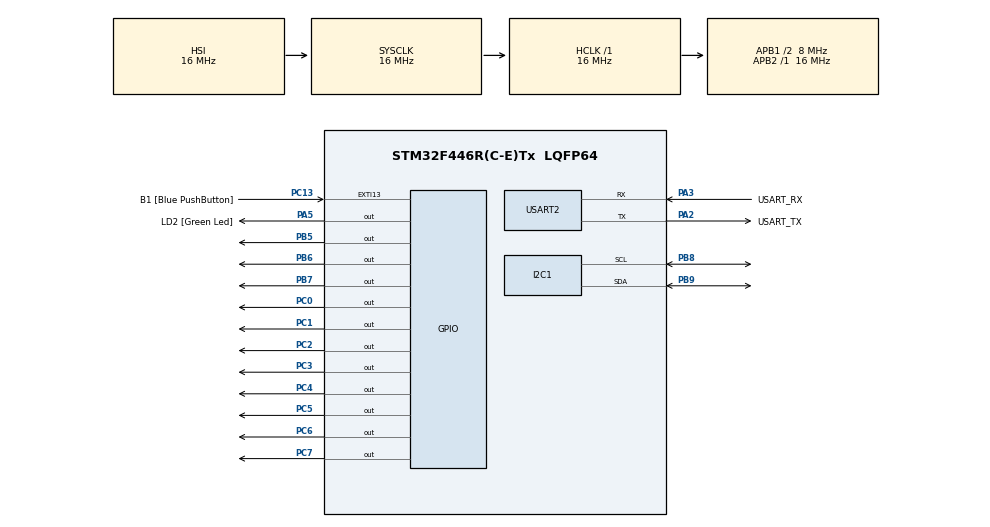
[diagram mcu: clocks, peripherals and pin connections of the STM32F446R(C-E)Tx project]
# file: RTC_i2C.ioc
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I2C1.I2C_Mode=I2C_Fast
Mcu.Family=STM32F4
Mcu.Name=STM32F446R(C-E)Tx
Mcu.Package=LQFP64
NVIC.PriorityGroup=NVIC_PRIORITYGROUP_0
PA13.GPIO_Label=TMS
PA13.Mode=Serial_Wire
PA13.Signal=SYS_JTMS-SWDIO
PA14.GPIO_Label=TCK
PA14.Mode=Serial_Wire
PA14.Signal=SYS_JTCK-SWCLK
PA2.GPIO_Label=USART_TX
PA2.Mode=Asynchronous
PA2.Signal=USART2_TX
PA3.GPIO_Label=USART_RX
PA3.Mode=Asynchronous
PA3.Signal=USART2_RX
PA5.GPIO_Label=LD2 [Green Led]
PA5.Signal=GPIO_Output
PB3.GPIO_Label=SWO
PB3.Signal=SYS_JTDO-SWO
PB5.Signal=GPIO_Output
PB6.Signal=GPIO_Output
PB7.Signal=GPIO_Output
PB8.Mode=I2C
PB8.Signal=I2C1_SCL
PB9.Mode=I2C
PB9.Signal=I2C1_SDA
PC0.Signal=GPIO_Output
PC1.Signal=GPIO_Output
PC13.GPIO_Label=B1 [Blue PushButton]
PC13.GPIO_ModeDefaultEXTI=GPIO_MODE_IT_FALLING
PC13.Signal=GPXTI13
PC14-OSC32_IN.Mode=LSE-External-Oscillator
PC14-OSC32_IN.Signal=RCC_OSC32_IN
PC15-OSC32_OUT.Mode=LSE-External-Oscillator
PC15-OSC32_OUT.Signal=RCC_OSC32_OUT
PC2.Signal=GPIO_Output
PC3.Signal=GPIO_Output
PC4.Signal=GPIO_Output
PC5.Signal=GPIO_Output
PC6.Signal=GPIO_Output
PC7.Signal=GPIO_Output
PH0-OSC_IN.Mode=HSE-External-Oscillator
PH0-OSC_IN.Signal=RCC_OSC_IN
PH1-OSC_OUT.Mode=HSE-External-Oscillator
PH1-OSC_OUT.Signal=RCC_OSC_OUT
ProjectManager.HeapSize=0x200
ProjectManager.StackSize=0x400
ProjectManager.TargetToolchain=STM32CubeIDE
RCC.48MHZClocksFreq_Value=84000000
RCC.AHBFreq_Value=16000000
RCC.APB1CLKDivider=RCC_HCLK_DIV2
RCC.APB1Freq_Value=8000000
RCC.APB1TimFreq_Value=16000000
RCC.APB2Freq_Value=16000000
RCC.APB2TimFreq_Value=16000000
RCC.CortexFreq_Value=16000000
RCC.FLatency-AdvancedSettings=FLASH_LATENCY_0
RCC.HCLKFreq_Value=16000000
RCC.HSE_VALUE=8000000
RCC.HSI_VALUE=16000000
RCC.PLLN=336
RCC.PLLP=RCC_PLLP_DIV4
RCC.SYSCLKFreq_VALUE=16000000
RCC.USBFreq_Value=168000000
RCC.VCOOutputFreq_Value=336000000
USART2.VirtualMode=VM_ASYNC
board=NUCLEO-F446RE

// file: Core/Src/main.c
/* USER CODE BEGIN Header */
/**
  **************************
  * @file           : main.c
  * @brief          : Main program body
  **************************
  * @attention
  *
  * Copyright (c) 2024 STMicroelectronics.
  * All rights reserved.
  *
  * This software is licensed under terms that can be found in the LICENSE file
  * in the root directory of this software component.
  * If no LICENSE file comes with this software, it is provided AS-IS.
  *
  **************************
  */
/* USER CODE END Header */
#include "main.h"

I2C_HandleTypeDef hi2c1;

UART_HandleTypeDef huart2;

void SystemClock_Config(void);
static void MX_GPIO_Init(void);
static void MX_USART2_UART_Init(void);
static void MX_I2C1_Init(void);
/* USER CODE BEGIN PFP */
#define DS1307_ADDR_SEC 0x00
#define DS1307_ADDR_MINIUTE 0x01
#define DS1307_ADDR_HRS 0x02
#define DS1307_ADDR_DAY 0x03
#define DS1307_ADDR_DATE 0x04
#define DS1307_ADDR_MONTH 0x05
#define DS1307_ADDR_YEAR 0x06
#define SLAVE_ADDR 0xD0
#define DS1307_SLAVE_ADDR 0b1101000
#define DS1307_CH_DATA 0x00
#define AM_Time 0
#define PM_Time 1
#define TwentyFourHoursMode 2

#define Sunday 1
#define Monday 2
#define Tuesday 3
#define Wednesday 4
#define Thursday 5
#define Friday 6
#define Saturday 7

void delay(uint32_t x);
 uint8_t bcd_to_binary(uint8_t value);
 void RTC_BCD_data(char *bin);
 void I2C1_init(void);
 void I2C1_burstWrite(char saddr, char maddr, int n, char* data);
 void I2C1_burstRead(char saddr, char maddr, int n, char* data);
 void deci_2_bcd_conver(char *ptr);
 void split_num_conditinal(int digit);
 void digit_split(unsigned int p);
 int decimalToBCD(int decimal);
 int BCDtoDecimal(int BCD);

 void LCD_command(unsigned char command);
 void LCD_data(char data);
 void LCD_pin_init(void);
 void LCD_disp_init();
 void lcd_send_string (char *str);

 void Get_Time();

 typedef struct {
 uint8_t seconds;
 uint8_t minutes;
 uint8_t hour;
 uint8_t dayofweek;
 uint8_t dayofmonth;
 uint8_t month;
 uint8_t year;
 } TIME;
 TIME time;

/* USER CODE END PFP */

/* USER CODE BEGIN 0 */
char timeDateToSet[15] = {55, 33, 13, 4, 05, 7, 22, 0};
char timeDateReadback[15];
char set_time[15];
unsigned char numaric_value[20];
unsigned char numaric_value[20];
int rtc_data[15];
char buffer[15];
/* USER CODE END 0 */

int main(void)
{
  /* USER CODE BEGIN 1 */
	I2C1_init();
	 LCD_pin_init();
	 LCD_disp_init();
	// LCD_data('m');
	 lcd_send_string("RTC:");
	 deci_2_bcd_conver(timeDateToSet);
	 I2C1_burstWrite(SLAVE_ADDR, 0x00, 7, set_time);
  /* USER CODE END 1 */

  /* MCU Configuration--------------------------------------------------------*/

  /* Reset of all peripherals, Initializes the Flash interface and the Systick. */
  HAL_Init();

  /* Configure the system clock */
  SystemClock_Config();

  /* Initialize all configured peripherals */
  MX_GPIO_Init();
  MX_USART2_UART_Init();
  MX_I2C1_Init();

  /* Infinite loop */
  while (1)
  {

    /* USER CODE BEGIN 3 */
	  LCD_command(0x80);
	   Get_Time(); //reading RTC data
	   sprintf (buffer, "%02d:%02d:%02d", time.hour, time.minutes, time.seconds);
	   // delay(1);
	   lcd_send_string(buffer);
	   // delay(1);
	   sprintf (buffer, "%02d-%02d-20%02d", time.dayofmonth, time.month, time.year);
	   // delay(1);
	   LCD_command(0xC0);
	   lcd_send_string(buffer);
  }
  /* USER CODE END 3 */
}

void SystemClock_Config(void)
{
  RCC_OscInitTypeDef RCC_OscInitStruct = {0};
  RCC_ClkInitTypeDef RCC_ClkInitStruct = {0};

  /** Configure the main internal regulator output voltage
  */
  __HAL_RCC_PWR_CLK_ENABLE();
  __HAL_PWR_VOLTAGESCALING_CONFIG(PWR_REGULATOR_VOLTAGE_SCALE3);

  /** Initializes the RCC Oscillators according to the specified parameters
  * in the RCC_OscInitTypeDef structure.
  */
  RCC_OscInitStruct.OscillatorType = RCC_OSCILLATORTYPE_HSI;
  RCC_OscInitStruct.HSIState = RCC_HSI_ON;
  RCC_OscInitStruct.HSICalibrationValue = RCC_HSICALIBRATION_DEFAULT;
  RCC_OscInitStruct.PLL.PLLState = RCC_PLL_NONE;
  if (HAL_RCC_OscConfig(&RCC_OscInitStruct) != HAL_OK)
  {
    Error_Handler();
  }

  /** Initializes the CPU, AHB and APB buses clocks
  */
  RCC_ClkInitStruct.ClockType = RCC_CLOCKTYPE_HCLK|RCC_CLOCKTYPE_SYSCLK
                              |RCC_CLOCKTYPE_PCLK1|RCC_CLOCKTYPE_PCLK2;
  RCC_ClkInitStruct.SYSCLKSource = RCC_SYSCLKSOURCE_HSI;
  RCC_ClkInitStruct.AHBCLKDivider = RCC_SYSCLK_DIV1;
  RCC_ClkInitStruct.APB1CLKDivider = RCC_HCLK_DIV2;
  RCC_ClkInitStruct.APB2CLKDivider = RCC_HCLK_DIV1;

  if (HAL_RCC_ClockConfig(&RCC_ClkInitStruct, FLASH_LATENCY_0) != HAL_OK)
  {
    Error_Handler();
  }
}

static void MX_I2C1_Init(void)
{

  hi2c1.Instance = I2C1;
  hi2c1.Init.ClockSpeed = 400000;
  hi2c1.Init.DutyCycle = I2C_DUTYCYCLE_2;
  hi2c1.Init.OwnAddress1 = 0;
  hi2c1.Init.AddressingMode = I2C_ADDRESSINGMODE_7BIT;
  hi2c1.Init.DualAddressMode = I2C_DUALADDRESS_DISABLE;
  hi2c1.Init.OwnAddress2 = 0;
  hi2c1.Init.GeneralCallMode = I2C_GENERALCALL_DISABLE;
  hi2c1.Init.NoStretchMode = I2C_NOSTRETCH_DISABLE;
  if (HAL_I2C_Init(&hi2c1) != HAL_OK)
  {
    Error_Handler();
  }

}

static void MX_USART2_UART_Init(void)
{

  huart2.Instance = USART2;
  huart2.Init.BaudRate = 115200;
  huart2.Init.WordLength = UART_WORDLENGTH_8B;
  huart2.Init.StopBits = UART_STOPBITS_1;
  huart2.Init.Parity = UART_PARITY_NONE;
  huart2.Init.Mode = UART_MODE_TX_RX;
  huart2.Init.HwFlowCtl = UART_HWCONTROL_NONE;
  huart2.Init.OverSampling = UART_OVERSAMPLING_16;
  if (HAL_UART_Init(&huart2) != HAL_OK)
  {
    Error_Handler();
  }

}

static void MX_GPIO_Init(void)
{
  GPIO_InitTypeDef GPIO_InitStruct = {0};

  /* GPIO Ports Clock Enable */
  __HAL_RCC_GPIOC_CLK_ENABLE();
  __HAL_RCC_GPIOH_CLK_ENABLE();
  __HAL_RCC_GPIOA_CLK_ENABLE();
  __HAL_RCC_GPIOB_CLK_ENABLE();

  /*Configure GPIO pin Output Level */
  HAL_GPIO_WritePin(GPIOC, GPIO_PIN_0|GPIO_PIN_1|GPIO_PIN_2|GPIO_PIN_3
                          |GPIO_PIN_4|GPIO_PIN_5|GPIO_PIN_6|GPIO_PIN_7, GPIO_PIN_RESET);

  /*Configure GPIO pin Output Level */
  HAL_GPIO_WritePin(LD2_GPIO_Port, LD2_Pin, GPIO_PIN_RESET);

  /*Configure GPIO pin Output Level */
  HAL_GPIO_WritePin(GPIOB, GPIO_PIN_5|GPIO_PIN_6|GPIO_PIN_7, GPIO_PIN_RESET);

  /*Configure GPIO pin : B1_Pin */
  GPIO_InitStruct.Pin = B1_Pin;
  GPIO_InitStruct.Mode = GPIO_MODE_IT_FALLING;
  GPIO_InitStruct.Pull = GPIO_NOPULL;
  HAL_GPIO_Init(B1_GPIO_Port, &GPIO_InitStruct);

  /*Configure GPIO pins : PC0 PC1 PC2 PC3
                           PC4 PC5 PC6 PC7 */
  GPIO_InitStruct.Pin = GPIO_PIN_0|GPIO_PIN_1|GPIO_PIN_2|GPIO_PIN_3
                          |GPIO_PIN_4|GPIO_PIN_5|GPIO_PIN_6|GPIO_PIN_7;
  GPIO_InitStruct.Mode = GPIO_MODE_OUTPUT_PP;
  GPIO_InitStruct.Pull = GPIO_NOPULL;
  GPIO_InitStruct.Speed = GPIO_SPEED_FREQ_LOW;
  HAL_GPIO_Init(GPIOC, &GPIO_InitStruct);

  /*Configure GPIO pin : LD2_Pin */
  GPIO_InitStruct.Pin = LD2_Pin;
  GPIO_InitStruct.Mode = GPIO_MODE_OUTPUT_PP;
  GPIO_InitStruct.Pull = GPIO_NOPULL;
  GPIO_InitStruct.Speed = GPIO_SPEED_FREQ_LOW;
  HAL_GPIO_Init(LD2_GPIO_Port, &GPIO_InitStruct);

  /*Configure GPIO pins : PB5 PB6 PB7 */
  GPIO_InitStruct.Pin = GPIO_PIN_5|GPIO_PIN_6|GPIO_PIN_7;
  GPIO_InitStruct.Mode = GPIO_MODE_OUTPUT_PP;
  GPIO_InitStruct.Pull = GPIO_NOPULL;
  GPIO_InitStruct.Speed = GPIO_SPEED_FREQ_LOW;
  HAL_GPIO_Init(GPIOB, &GPIO_InitStruct);

}

/* USER CODE BEGIN 4 */
void I2C1_init(void)
{
RCC->AHB1ENR |= 2; /* Enable GPIOB clock */
 RCC->APB1ENR |= 0x00200000; /* Enable I2C1 clock */
 /* configure PB8, PB9 pins for I2C1 */
 GPIOB->AFR[1] &= ~0x000000FF; /* PB8, PB9 I2C1 SCL, SDA */
 GPIOB->AFR[1] |= 0x00000044;
 GPIOB->MODER &= ~0x000F0000; /* PB8, PB9 use alternate function */
 GPIOB->MODER |= 0x000A0000;
 GPIOB->OTYPER |= 0x00000300; /* output open-drain */
 GPIOB->PUPDR &= ~0x000F0000; /* with pull-ups */
 GPIOB->PUPDR |= 0x00050000;
 I2C1->CR1 = 0x8000; /* software reset I2C1 */
 I2C1->CR1 &= ~0x8000; /* out of reset */
 I2C1->CR2 = 0x0010; /* peripheral clock is 16 MHz */
I2C1->CR1 |= 0x400; /* Enabling the
acknowledgment */
 I2C1->CCR = 80; /* standard mode, 100kHz clock */
 I2C1->TRISE = 17; /* maximum rise time */
 I2C1->CR1 |= 0x0001; /* enable I2C1 module */
}

void I2C1_burstWrite(char saddr, char maddr, int n, char* data)
{
 int i;
 volatile int tmp;
 while (I2C1->SR2 & 2); /* wait until bus not busy */
 I2C1->CR1 &= ~0x800; /* disable POS */
 I2C1->CR1 |= 0x100; /* generate start */
 while (!(I2C1->SR1 & 1)); /* wait until start flag is set */
 I2C1->DR = saddr << 1; /* transmit slave address */
 while (!(I2C1->SR1 & 0x2)); /* wait until addr flag is set */
 tmp = I2C1->SR2; /* clear addr flag */
 while (!(I2C1->SR1 & 0x80)); /* wait until data register empty */
 I2C1->DR = maddr; /* send memory address */
 /* write all the data */
 for (i = 0; i < n; i++) {
 while (!(I2C1->SR1 & 0x80)); /* wait until data register empty */
 I2C1->DR = data++;
 }
 while (!(I2C1->SR1 & 4)); /* wait until transfer finished */
 I2C1->CR1 |= 0x200; /* generate stop */
}

void I2C1_burstRead(char saddr, char maddr, int n, char* data)
{
 volatile int tmp;
 while (I2C1->SR2 & 2);               /* wait until bus not busy */
 I2C1->CR1 &= ~0x800;                   /* disable POS */
 I2C1->CR1 |= 0x100;                          /* generate start */
 while (!(I2C1->SR1 & 1));                 /* wait until start flag is set */
 I2C1->DR = saddr << 1;                   /* transmit slave address + Write */
 while (!(I2C1->SR1 & 2));                 /* wait until addr flag is set */
 tmp = I2C1->SR2;                          /* clear addr flag */
 while (!(I2C1->SR1 & 0x80));               /* wait until transmitter empty */
 I2C1->DR = maddr;                      /* send memory address */
 while (!(I2C1->SR1 & 0x80));             /* wait until transmitter empty */
 I2C1->CR1 |= 0x100;                        /* generate restart */
 while (!(I2C1->SR1 & 1));            /* wait until start flag is set */
 I2C1->DR = saddr << 1 | 1;                /* transmit slave address + Read */
 while (!(I2C1->SR1 & 2));                      /* wait until addr flag is set */
 tmp = I2C1->SR2;                    /* clear addr flag */
 I2C1->CR1 |= 0x0400;              /* Enable Acknowledge */
 while(n > 0)
 {
 /* One byte left */
 if(n == 1)
 {
 I2C1->CR1 &= ~(0x400);         /* Disable Acknowledge */
 I2C1->CR1 |= 0x200;              /* Generate Stop */
 while (!(I2C1->SR1 & 0x40));    /* Wait for RXNE flag set */
 *data++ = I2C1->DR;
 break;
 }
 else
 {
 while (!(I2C1->SR1 & 0x40)); /* Wait until RXNE flag is set */
 *data++ = I2C1->DR;
 n--;
 }
 }
}

void Get_Time()
{
//uint8_t get_time[7];
I2C1_burstRead(SLAVE_ADDR, 0x00, 7, timeDateReadback);
time.seconds = BCDtoDecimal(timeDateReadback[0]);
time.minutes = BCDtoDecimal(timeDateReadback[1]);
time.hour = BCDtoDecimal(timeDateReadback[2]);
time.dayofweek = BCDtoDecimal(timeDateReadback[3]);
time.dayofmonth = BCDtoDecimal(timeDateReadback[4]);
time.month = BCDtoDecimal(timeDateReadback[5]);
time.year = BCDtoDecimal(timeDateReadback[6]);
}

void delay(uint32_t x)
{
for(int i=0;i<x;i++)
{
for(int j=0;j<3000;j++);
}
}
int BCDtoDecimal(int BCD)
{
return(((BCD>>4)*10) + (BCD & 0xf));
}
int decimalToBCD(int decimal)
{
return(((decimal/10)<<4) | (decimal%10));
}
void deci_2_bcd_conver(char *ptr)
{
int i=0;
while(i<7)
{
set_time[i] = decimalToBCD(*ptr);
i++;
ptr++;
}
}

void LCD_pin_init()
{
//port initialization
RCC -> AHB1ENR |= 0x06; //enable clock for port B and C
GPIOB -> MODER &= ~0x0000FC00; //clear pin PB5,6,7
GPIOB -> MODER |= 0x00005400; //set as output PB5,6,7
GPIOB -> ODR &= 0x0000FF1F; // making pin PB5,6,7
GPIOC -> MODER &= ~0x0000FFFF;
GPIOC -> MODER |= 0x00005555; // port c pin 0-7 configured as output pin
}

void LCD_disp_init()
{
LCD_command(0x38);//8 bit 2*16 data
delay(100);
LCD_command(0x06);//entry and cursur move right to left
delay(100);
LCD_command(0x01);//clear screen
delay(100);
LCD_command(0x80);//force curser to bigining of 1st row
delay(100);
//LCD_command(0x0f);//clear screen
LCD_command(0x0C); //disp on cursur off
delay(100);
}

void LCD_command(unsigned char command)
{
GPIOB->ODR &= 0xFF9F;//RS= 0;
GPIOB->ODR &= 0xFFBF;//R/W = 0;
GPIOC->ODR = command;
GPIOB->ODR |= 0x0080;//E = 1
delay(50);
GPIOB->ODR &= ~0x0080;//clear E
if(command<4)
delay(2);
else
delay(1);
}

void LCD_data(char data)
{
GPIOB->ODR |= 0x0020;//RS= 1;
GPIOB->ODR &= 0xFFBF;//R/W = 0;
GPIOC->ODR = data;//put data
GPIOB->ODR |= 0x0080;//E = 1
delay(50);
GPIOB->ODR &= ~0x0080;//clear E
delay(1);
}

void lcd_send_string (char *str)
{
int i;
for(i=0;*(str+i)!='\0';i++)
{
LCD_data(*(str+i));
delay(80);
}
}

/* USER CODE END 4 */

void Error_Handler(void)
{
  __disable_irq();
  while (1)
  {
  }
}
